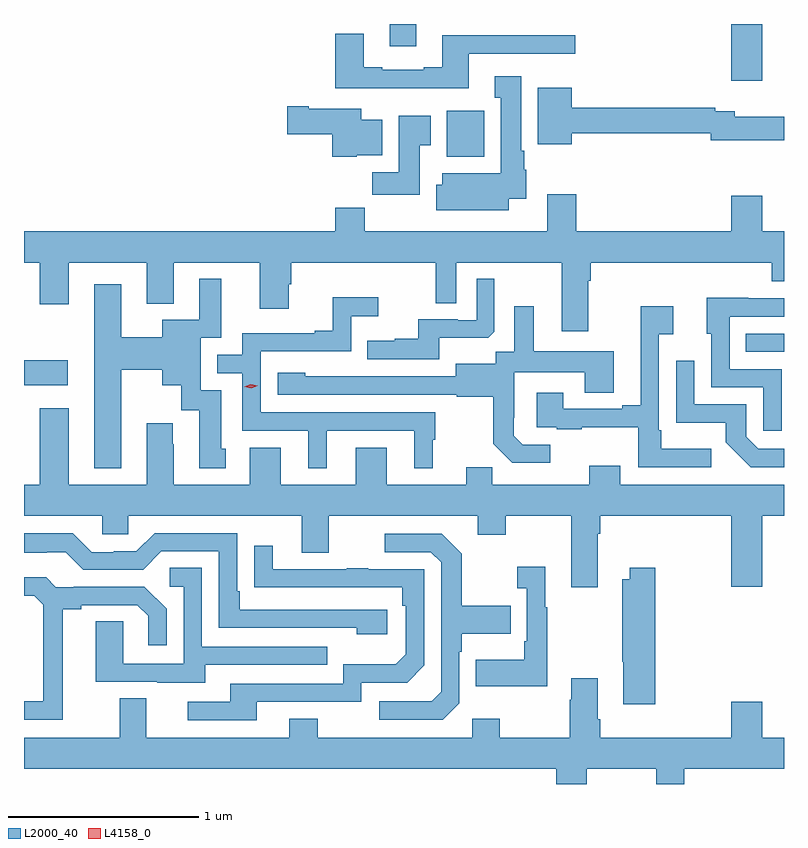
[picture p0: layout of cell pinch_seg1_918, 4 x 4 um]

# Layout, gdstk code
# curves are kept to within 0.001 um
import gdstk
lib = gdstk.Library(unit=1e-6, precision=1e-09)
def R(c, l, rs):  # rectangles x0, y0, x1, y1
    for r in rs: c.add(gdstk.rectangle(r[:2], r[2:], *l))
def P(c, l, *ps):  # polygons
    for p in ps: c.add(gdstk.Polygon(p, *l))
L2000_40 = (2000, 40)
L4158_0 = (4158, 0)

pinch_seg1_918 = lib.new_cell('pinch_seg1_918')
R(pinch_seg1_918, L2000_40, [(149.298,576.395,149.527,576.525), (153.097,576.57,153.298,576.666), (151.523,577.598,151.72,577.84), (153.02,577.998,153.184,578.296), (151.223,578.178,151.363,578.296)])
P(pinch_seg1_918, L2000_40, [(151.639,578.139),(152.2,578.139),(152.2,578.236),(151.499,578.236),(151.499,578.068),(151.403,578.068),(151.403,578.055),(151.183,578.055),(151.183,578.068),(151.087,578.068),(151.087,578.245),(150.935,578.245),(150.935,577.958),(151.639,577.958)],
  [(151.849,577.376),(151.942,577.376),(151.942,577.53),(151.93,577.53),(151.93,577.63),(151.915,577.63),(151.915,578.02),(151.775,578.02),(151.775,577.907),(151.808,577.907),(151.808,577.51),(151.499,577.51),(151.499,577.451),(151.469,577.451),(151.469,577.316),(151.849,577.316)],
  [(152.182,577.72),(152.912,577.72),(152.912,577.685),(153.298,577.685),(153.298,577.807),(153.04,577.807),(153.04,577.836),(152.936,577.836),(152.936,577.856),(152.182,577.856),(152.182,577.96),(152.003,577.96),(152.003,577.664),(152.182,577.664)],
  [(151.05,577.604),(151.183,577.604),(151.183,577.792),(151.072,577.792),(151.072,577.849),(150.796,577.849),(150.796,577.862),(150.684,577.862),(150.684,577.715),(150.92,577.715),(150.92,577.598),(151.05,577.598)],
  [(151.381,577.657),(151.438,577.657),(151.438,577.813),(151.271,577.813),(151.271,577.516),(151.132,577.516),(151.132,577.398),(151.381,577.398)],
  [(149.298,577.04),(149.381,577.04),(149.381,576.822),(149.533,576.822),(149.533,577.04),(149.945,577.04),(149.945,576.824),(150.085,576.824),(150.085,577.04),(150.539,577.04),(150.539,576.798),(150.691,576.798),(150.691,576.927),(150.704,576.927),(150.704,577.04),(151.464,577.04),(151.464,576.826),(151.572,576.826),(151.572,577.04),(152.129,577.04),(152.129,576.678),(152.269,576.678),(152.269,576.944),(152.282,576.944),(152.282,577.04),(153.233,577.04),(153.233,576.941),(153.298,576.941),(153.298,577.204),(153.184,577.204),(153.184,577.393),(153.02,577.393),(153.02,577.204),(152.204,577.204),(152.204,577.399),(152.051,577.399),(152.051,577.204),(151.091,577.204),(151.091,577.328),(150.935,577.328),(150.935,577.204),(149.298,577.204)],
  [(149.809,576.476),(150.026,576.476),(150.026,576.395),(150.125,576.395),(150.125,576.264),(150.221,576.264),(150.221,575.958),(150.361,575.958),(150.361,576.06),(150.337,576.06),(150.337,576.369),(150.228,576.369),(150.228,576.645),(150.337,576.645),(150.337,576.955),(150.221,576.955),(150.221,576.739),(150.026,576.739),(150.026,576.648),(149.809,576.648),(149.809,576.925),(149.669,576.925),(149.669,575.957),(149.809,575.957)],
  [(151.483,576.644),(151.741,576.644),(151.773,576.675),(151.773,576.955),(151.68,576.955),(151.68,576.738),(151.58,576.738),(151.58,576.741),(151.373,576.741),(151.373,576.64),(151.249,576.64),(151.249,576.628),(151.105,576.628),(151.105,576.531),(151.483,576.531)],
  [(150.892,576.156),(151.352,576.156),(151.352,575.957),(151.45,575.957),(151.45,576.108),(151.462,576.108),(151.462,576.252),(150.543,576.252),(150.543,576.573),(151.02,576.573),(151.02,576.758),(151.162,576.758),(151.162,576.857),(150.922,576.857),(150.922,576.682),(150.827,576.682),(150.827,576.669),(150.447,576.669),(150.447,576.555),(150.314,576.555),(150.314,576.459),(150.447,576.459),(150.447,576.156),(150.794,576.156),(150.794,575.957),(150.892,575.957)],
  [(153.285,576.48),(153.012,576.48),(153.012,576.756),(153.298,576.756),(153.298,576.852),(153.109,576.852),(153.109,576.854),(152.891,576.854),(152.891,576.666),(152.916,576.666),(152.916,576.384),(153.189,576.384),(153.189,576.156),(153.285,576.156)],
  [(152.914,576.061),(152.653,576.061),(152.653,576.157),(152.64,576.157),(152.64,576.662),(152.716,576.662),(152.716,576.811),(152.543,576.811),(152.543,576.289),(152.447,576.289),(152.447,576.27),(152.137,576.27),(152.137,576.355),(151.997,576.355),(151.997,576.174),(152.101,576.174),(152.101,576.162),(152.233,576.162),(152.233,576.173),(152.532,576.173),(152.532,575.964),(152.914,575.964)],
  [(152.068,576.081),(151.923,576.081),(151.876,576.128),(151.876,576.223),(151.878,576.223),(151.878,576.464),(152.249,576.464),(152.249,576.355),(152.401,576.355),(152.401,576.574),(151.981,576.574),(151.981,576.811),(151.877,576.811),(151.877,576.572),(151.782,576.572),(151.782,576.508),(151.571,576.508),(151.571,576.441),(150.777,576.442),(150.777,576.46),(150.633,576.46),(150.633,576.345),(151.575,576.345),(151.575,576.333),(151.767,576.333),(151.767,576.087),(151.867,575.987),(152.068,575.987)],
  [(153.298,576.06),(153.162,576.06),(153.099,576.123),(153.099,576.294),(152.826,576.294),(152.826,576.523),(152.73,576.523),(152.73,576.197),(152.992,576.197),(152.992,576.095),(153.122,575.964),(153.298,575.964)],
  [(152.317,575.612),(152.33,575.612),(152.33,575.708),(153.02,575.708),(153.02,575.334),(153.184,575.334),(153.184,575.708),(153.298,575.708),(153.298,575.872),(152.437,575.872),(152.437,575.971),(152.273,575.971),(152.273,575.872),(151.763,575.872),(151.763,575.963),(151.625,575.963),(151.625,575.872),(151.207,575.872),(151.207,576.067),(151.043,576.067),(151.043,575.872),(150.649,575.872),(150.649,576.067),(150.485,576.067),(150.485,575.872),(150.085,575.872),(150.085,576.083),(150.082,576.083),(150.082,576.196),(149.945,576.196),(149.945,575.872),(149.533,575.872),(149.533,576.274),(149.381,576.274),(149.381,575.872),(149.298,575.872),(149.298,575.708),(149.709,575.708),(149.709,575.61),(149.847,575.61),(149.847,575.708),(150.761,575.708),(150.761,575.514),(150.901,575.514),(150.901,575.708),(151.685,575.708),(151.685,575.609),(151.833,575.609),(151.833,575.708),(152.177,575.708),(152.177,575.331),(152.317,575.331)],
  [(151.21,575.214),(150.433,575.214),(150.433,575.311),(150.42,575.311),(150.42,575.616),(149.985,575.616),(149.889,575.52),(149.771,575.52),(149.771,575.517),(149.655,575.517),(149.555,575.617),(149.298,575.617),(149.298,575.513),(149.417,575.513),(149.417,575.517),(149.517,575.517),(149.61,575.424),(149.925,575.424),(150.021,575.52),(150.324,575.52),(150.324,575.118),(151.049,575.118),(151.049,575.084),(151.21,575.084)],
  [(151.59,574.722),(151.59,574.991),(151.603,574.991),(151.603,575.087),(151.859,575.087),(151.859,575.235),(151.603,575.235),(151.603,575.507),(151.497,575.613),(151.197,575.613),(151.197,575.517),(151.44,575.517),(151.494,575.463),(151.494,574.782),(151.443,574.731),(151.167,574.731),(151.167,574.635),(151.503,574.635)],
  [(150.523,574.728),(151.074,574.728),(151.074,574.83),(151.314,574.83),(151.404,574.92),(151.404,575.427),(151.109,575.427),(151.109,575.432),(150.997,575.432),(150.997,575.427),(150.607,575.427),(150.607,575.551),(150.511,575.551),(150.511,575.332),(151.288,575.331),(151.288,575.234),(151.308,575.234),(151.308,574.98),(151.255,574.927),(150.978,574.927),(150.978,574.824),(150.383,574.824),(150.383,574.728),(150.159,574.728),(150.159,574.632),(150.523,574.632)],
  [(152.053,575.227),(152.041,575.227),(152.041,575.44),(151.893,575.44),(151.893,575.327),(151.944,575.327),(151.944,575.047),(151.932,575.047),(151.932,574.951),(151.675,574.951),(151.675,574.811),(152.053,574.811)],
  [(150.253,574.923),(150.893,574.923),(150.893,575.019),(150.234,575.019),(150.234,575.435),(150.066,575.435),(150.066,575.334),(150.138,575.334),(150.138,574.929),(149.82,574.929),(149.82,575.153),(149.675,575.153),(149.675,574.833),(149.999,574.833),(149.999,574.829),(150.253,574.829)],
  [(152.621,575.434),(152.486,575.434),(152.486,575.374),(152.446,575.374),(152.446,574.939),(152.453,574.939),(152.453,574.716),(152.621,574.716)],
  [(149.503,575.216),(149.599,575.216),(149.599,575.238),(149.894,575.238),(149.951,575.181),(149.951,575.025),(150.048,575.025),(150.048,575.218),(149.932,575.334),(149.56,575.334),(149.56,575.331),(149.466,575.331),(149.414,575.383),(149.298,575.383),(149.298,575.286),(149.352,575.286),(149.399,575.239),(149.399,574.731),(149.298,574.731),(149.298,574.635),(149.503,574.635)],
  [(152.259,574.376),(152.626,574.376),(152.626,574.296),(152.772,574.296),(152.772,574.376),(153.298,574.376),(153.298,574.54),(153.184,574.54),(153.184,574.729),(153.02,574.729),(153.02,574.54),(152.33,574.54),(152.33,574.636),(152.317,574.636),(152.317,574.852),(152.177,574.852),(152.177,574.739),(152.17,574.739),(152.17,574.54),(151.803,574.54),(151.803,574.639),(151.656,574.639),(151.656,574.54),(150.843,574.54),(150.843,574.639),(150.695,574.639),(150.695,574.54),(149.941,574.54),(149.941,574.748),(149.801,574.748),(149.801,574.54),(149.298,574.54),(149.298,574.376),(152.099,574.376),(152.099,574.296),(152.259,574.296)])
P(pinch_seg1_918, L4158_0, [(150.494,576.379),(150.458,576.386),(150.458,576.387),(150.458,576.387),(150.492,576.399),(150.527,576.392),(150.528,576.392),(150.527,576.392)])

lib.write_gds('pinch_seg1_918.gds')
